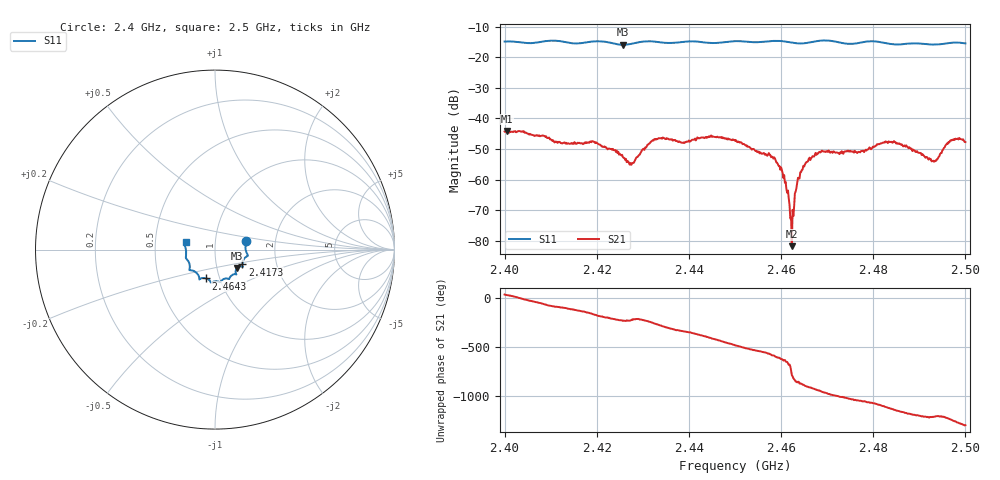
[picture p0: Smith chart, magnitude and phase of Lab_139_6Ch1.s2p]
# Hz S RI R 50
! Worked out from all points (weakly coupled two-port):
!   601 points, 2.4 GHz to 2.5 GHz, reference 50 ohm
!   highest |S21| = -44.11 dB at 2.4005 GHz (marker M1); lowest = -81.8 dB at 2.4623 GHz (marker M2)
!   lowest |S11| = -15.9 dB at 2.4257 GHz (marker M3), VSWR 1.38, Z = 62.4 - j13.1 ohm
!   |S11| at or under -10 dB: start of sweep to end of sweep
!   S12 and S22 are empty: the file has one direction only
!   S11 on the Smith chart (normalised r, x): 2.4 GHz: 1.41, +0.14; 2.4173 GHz: 1.34, -0.23; 2.4643 GHz: 0.86, -0.28; 2.5 GHz: 0.72, +0.06
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2.4e9  0.1735 0.0495  0.00521 0.00319  0 0  0 0
2.4005e9  0.1746 0.0474  0.00561 0.00272  0 0  0 0
2.416667e9  0.1528 -0.075  -0.00298 -0.00259  0 0  0 0
2.417333e9  0.1522 -0.0825  -0.00322 -0.00242  0 0  0 0
2.4195e9  0.1539 -0.0965  -0.00412 -0.000437  0 0  0 0
2.425667e9  0.1223 -0.1024  -0.00125 0.00196  0 0  0 0
2.427667e9  0.1151 -0.1207  -0.00136 0.00126  0 0  0 0
2.433333e9  0.1126 -0.1367  0.000527 0.00468  0 0  0 0
2.45e9  0.0297 -0.1809  -0.00252 -0.00349  0 0  0 0
2.458667e9  -0.0207 -0.1839  -0.0012 0.00187  0 0  0 0
2.4605e9  -0.0243 -0.1807  0.000184 0.00104  0 0  0 0
2.462333e9  -0.0314 -0.1704  3.01e-05 -7.58e-05  0 0  0 0
2.462833e9  -0.035 -0.1672  -0.000134 -0.000342  0 0  0 0
2.4635e9  -0.041 -0.1638  -0.000707 -0.000523  0 0  0 0
2.464333e9  -0.0501 -0.1604  -0.00121 -0.000533  0 0  0 0
2.466667e9  -0.0762 -0.1597  -0.00214 0.00084  0 0  0 0
2.468833e9  -0.0872 -0.166  -0.00158 0.00252  0 0  0 0
2.476833e9  -0.125 -0.1168  0.00241 0.00151  0 0  0 0
2.483333e9  -0.1406 -0.0896  0.00302 -0.00293  0 0  0 0
2.493167e9  -0.1606 -0.0119  -0.00134 -0.00144  0 0  0 0
2.496833e9  -0.17 0.0254  -0.00416 -0.00141  0 0  0 0
2.5e9  -0.1632 0.0416  -0.00315 0.00263  0 0  0 0
